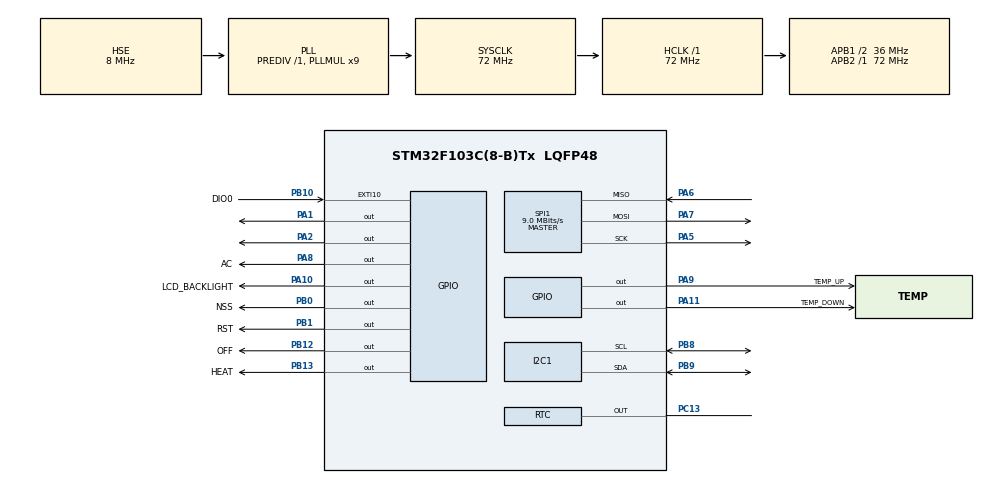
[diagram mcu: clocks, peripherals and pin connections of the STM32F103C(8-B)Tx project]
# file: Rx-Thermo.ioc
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Mcu.Family=STM32F1
Mcu.Name=STM32F103C(8-B)Tx
Mcu.Package=LQFP48
NVIC.EXTI15_10_IRQn=true\:0\:0\:false\:true\:true\:2\:true\:true\:true
NVIC.PriorityGroup=NVIC_PRIORITYGROUP_4
NVIC.RTC_Alarm_IRQn=true\:0\:0\:false\:true\:true\:3\:true\:true\:true
NVIC.SPI1_IRQn=true\:0\:0\:false\:true\:true\:1\:true\:true\:true
PA1.Signal=GPIO_Output
PA10.GPIO_Label=LCD_BACKLIGHT
PA10.PinState=GPIO_PIN_RESET
PA10.Signal=GPIO_Output
PA11.GPIO_Label=TEMP_DOWN
PA11.Signal=GPIO_Output
PA13.Mode=Serial_Wire
PA13.Signal=SYS_JTMS-SWDIO
PA14.Mode=Serial_Wire
PA14.Signal=SYS_JTCK-SWCLK
PA2.Signal=GPIO_Output
PA5.Mode=Full_Duplex_Master
PA5.Signal=SPI1_SCK
PA6.Mode=Full_Duplex_Master
PA6.Signal=SPI1_MISO
PA7.Mode=Full_Duplex_Master
PA7.Signal=SPI1_MOSI
PA8.GPIO_Label=AC
PA8.Signal=GPIO_Output
PA9.GPIO_Label=TEMP_UP
PA9.Signal=GPIO_Output
PB0.GPIO_Label=NSS
PB0.PinState=GPIO_PIN_SET
PB0.Signal=GPIO_Output
PB1.GPIO_Label=RST
PB1.PinState=GPIO_PIN_SET
PB1.Signal=GPIO_Output
PB10.GPIO_Label=DIO0
PB10.GPIO_PuPd=GPIO_PULLDOWN
PB10.Signal=GPXTI10
PB12.GPIO_Label=OFF
PB12.Signal=GPIO_Output
PB13.GPIO_Label=HEAT
PB13.Signal=GPIO_Output
PB8.Mode=I2C
PB8.Signal=I2C1_SCL
PB9.Mode=I2C
PB9.Signal=I2C1_SDA
PC13-TAMPER-RTC.Mode=RTC OUT
PC13-TAMPER-RTC.Signal=RTC_OUT
PD0-OSC_IN.Mode=HSE-External-Oscillator
PD0-OSC_IN.Signal=RCC_OSC_IN
PD1-OSC_OUT.Mode=HSE-External-Oscillator
PD1-OSC_OUT.Signal=RCC_OSC_OUT
ProjectManager.HeapSize=0x200
ProjectManager.StackSize=0x400
ProjectManager.TargetToolchain=STM32CubeIDE
RCC.ADCPresc=RCC_ADCPCLK2_DIV6
RCC.AHBFreq_Value=72000000
RCC.APB1CLKDivider=RCC_HCLK_DIV2
RCC.APB1Freq_Value=36000000
RCC.APB1TimFreq_Value=72000000
RCC.APB2Freq_Value=72000000
RCC.APB2TimFreq_Value=72000000
RCC.HCLKFreq_Value=72000000
RCC.PLLMUL=RCC_PLL_MUL9
RCC.PLLSourceVirtual=RCC_PLLSOURCE_HSE
RCC.PWREXT_OverDrive=PWREXT_OverDrive_DESACTIVATED
RCC.PWR_Regulator_Voltage_Scale=PWR_REGULATOR_VOLTAGE_SCALE3
RCC.RCC_TIM_PRescaler_Selection=RCC_TIMPRES_DESACTIVATED
RCC.SYSCLKFreq_VALUE=72000000
RCC.SYSCLKSource=RCC_SYSCLKSOURCE_PLLCLK
RCC.USBFreq_Value=48000000
RCC.USBPrescaler=RCC_USBCLKSOURCE_PLL_DIV1_5
SPI1.BaudRatePrescaler=SPI_BAUDRATEPRESCALER_8
SPI1.CalculateBaudRate=9.0 MBits/s
SPI1.Direction=SPI_DIRECTION_2LINES
SPI1.Mode=SPI_MODE_MASTER
SPI1.VirtualType=VM_MASTER
VP_RTC_VS_RTC_Activate.Mode=RTC_Enabled
VP_RTC_VS_RTC_Calendar.Mode=RTC_Calendar
board=custom

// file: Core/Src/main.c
/* USER CODE BEGIN Header */
/**
  ******************************************************************************
  * @file           : main.c
  * @brief          : Main program body
  ******************************************************************************
  * @attention
  *
  * Copyright (c) 2025 STMicroelectronics.
  * All rights reserved.
  *
  * This software is licensed under terms that can be found in the LICENSE file
  * in the root directory of this software component.
  * If no LICENSE file comes with this software, it is provided AS-IS.
  *
  ******************************************************************************
  */
/* USER CODE END Header */
#include "main.h"
#include "i2c.h"
#include "rtc.h"
#include "spi.h"
#include "gpio.h"

/* USER CODE BEGIN Includes */
/*--------------------RECEIVER--------------------*/
//#include "usbd_cdc_if.h"
#include <string.h>
#include <stdio.h>
#include <lcd_temp.h>
#include <LiquidCrystal.h>
#include <stm32f1xx.h>
#include <LoRa.h>
#include <temp.h>
#include <commands.h>

/* USER CODE END Includes */

/* USER CODE BEGIN PV */
LoRa myLoRa;
uint16_t LoRa_stat = 0;
uint8_t RxBuffer[16];
volatile uint8_t rx_ready = 0;

TempCtx temp_ctx;
/* Parse alarm, dynamic temp change, LoRa commands */
/* USER CODE END PV */

void SystemClock_Config(void);
static void MX_NVIC_Init(void);

int main(void)
{

  /* MCU Configuration--------------------------------------------------------*/

  /* Reset of all peripherals, Initializes the Flash interface and the Systick. */
  HAL_Init();

  /* Configure the system clock */
  SystemClock_Config();

  /* Initialize all configured peripherals */
  MX_GPIO_Init();
  MX_SPI1_Init();
  MX_I2C1_Init();
  MX_RTC_Init();

  /* Initialize interrupts */
  MX_NVIC_Init();
  /* USER CODE BEGIN 2 */
  myLoRa = newLoRa();
  myLoRa.hSPIx = &hspi1;
  myLoRa.CS_port = GPIOB;
  myLoRa.CS_pin = GPIO_PIN_0;
  myLoRa.reset_port = GPIOB;
  myLoRa.reset_pin = GPIO_PIN_1;
  myLoRa.DIO0_port = GPIOB;
  myLoRa.DIO0_pin = GPIO_PIN_10;

  while (LoRa_init(&myLoRa) != LORA_OK) {
  }
  LoRa_stat = 1;
  LoRa_startReceiving(&myLoRa);

  /* Fresh starting below */
  TempCtx_Init(&temp_ctx);
  LCD_HVACInit(&temp_ctx);

  /* USER CODE END 2 */

  /* Infinite loop */
  /* USER CODE BEGIN WHILE */
  /*--------------------RECEIVER--------------------*/

  while (1)
  {
    /* USER CODE END WHILE */

    /* USER CODE BEGIN 3 */
	  if (rx_ready) {
		  Task_ExecuteCommands();
		  rx_ready = 0;
		  memset(RxBuffer, 0, sizeof(RxBuffer));
	  }
	  if (HAL_GetTick() - temp_ctx.alarm_update >= ALARM_FIRE_INTERVAL) {
		  Task_ExecuteAlarm();
		  temp_ctx.alarm_update = HAL_GetTick();
	  }
	  if (HAL_GetTick() - temp_ctx.temp_update >= TEMP_UPDATE_INTERVAL) {
		  Task_ExecuteTemperatureChange();
		  temp_ctx.temp_update = HAL_GetTick();
	  }
  }
  /* USER CODE END 3 */
}

void Task_ExecuteAlarm(void) {
	EnterStopMode(&temp_ctx);
}

void Task_ExecuteTemperatureChange(void) {
	HVAC_TempChange(&temp_ctx);
}

void Task_ExecuteCommands(void) {
	char command[16];
	if (ValidateCommand(RxBuffer, command))
		Parse_Command(command, &temp_ctx);
}
void SystemClock_Config(void)
{
  RCC_OscInitTypeDef RCC_OscInitStruct = {0};
  RCC_ClkInitTypeDef RCC_ClkInitStruct = {0};
  RCC_PeriphCLKInitTypeDef PeriphClkInit = {0};

  /** Initializes the RCC Oscillators according to the specified parameters
  * in the RCC_OscInitTypeDef structure.
  */
  RCC_OscInitStruct.OscillatorType = RCC_OSCILLATORTYPE_LSI|RCC_OSCILLATORTYPE_HSE;
  RCC_OscInitStruct.HSEState = RCC_HSE_ON;
  RCC_OscInitStruct.HSEPredivValue = RCC_HSE_PREDIV_DIV1;
  RCC_OscInitStruct.HSIState = RCC_HSI_ON;
  RCC_OscInitStruct.LSIState = RCC_LSI_ON;
  RCC_OscInitStruct.PLL.PLLState = RCC_PLL_ON;
  RCC_OscInitStruct.PLL.PLLSource = RCC_PLLSOURCE_HSE;
  RCC_OscInitStruct.PLL.PLLMUL = RCC_PLL_MUL9;
  if (HAL_RCC_OscConfig(&RCC_OscInitStruct) != HAL_OK)
  {
    Error_Handler();
  }

  /** Initializes the CPU, AHB and APB buses clocks
  */
  RCC_ClkInitStruct.ClockType = RCC_CLOCKTYPE_HCLK|RCC_CLOCKTYPE_SYSCLK
                              |RCC_CLOCKTYPE_PCLK1|RCC_CLOCKTYPE_PCLK2;
  RCC_ClkInitStruct.SYSCLKSource = RCC_SYSCLKSOURCE_PLLCLK;
  RCC_ClkInitStruct.AHBCLKDivider = RCC_SYSCLK_DIV1;
  RCC_ClkInitStruct.APB1CLKDivider = RCC_HCLK_DIV2;
  RCC_ClkInitStruct.APB2CLKDivider = RCC_HCLK_DIV1;

  if (HAL_RCC_ClockConfig(&RCC_ClkInitStruct, FLASH_LATENCY_2) != HAL_OK)
  {
    Error_Handler();
  }
  PeriphClkInit.PeriphClockSelection = RCC_PERIPHCLK_RTC;
  PeriphClkInit.RTCClockSelection = RCC_RTCCLKSOURCE_LSI;
  if (HAL_RCCEx_PeriphCLKConfig(&PeriphClkInit) != HAL_OK)
  {
    Error_Handler();
  }
}

/**
  * @brief NVIC Configuration.
  * @retval None
  */
static void MX_NVIC_Init(void)
{
  /* SPI1_IRQn interrupt configuration */
  HAL_NVIC_SetPriority(SPI1_IRQn, 0, 0);
  HAL_NVIC_EnableIRQ(SPI1_IRQn);
  /* EXTI15_10_IRQn interrupt configuration */
  HAL_NVIC_SetPriority(EXTI15_10_IRQn, 0, 0);
  HAL_NVIC_EnableIRQ(EXTI15_10_IRQn);
  /* RTC_Alarm_IRQn interrupt configuration */
  HAL_NVIC_SetPriority(RTC_Alarm_IRQn, 0, 0);
  HAL_NVIC_EnableIRQ(RTC_Alarm_IRQn);
}

/* USER CODE BEGIN 4 */

void HAL_RTC_AlarmAEventCallback(RTC_HandleTypeDef *hrtc) {
	/* Resume clock and tick */
	SystemClock_Config();
	HAL_ResumeTick();
}

void HAL_GPIO_EXTI_Callback(uint16_t GPIO_Pin)
{
	if (GPIO_Pin == DIO0_Pin) {
		LoRa_receive(&myLoRa, RxBuffer, 16);
		rx_ready = 1;
		if (temp_ctx.rtc_alarm_fired) {
			SystemClock_Config();
			HAL_ResumeTick();
			temp_ctx.rtc_alarm_fired = 0;
		}
	}
}

/* USER CODE END 4 */

void Error_Handler(void)
{
  __disable_irq();
  while (1)
  {
  }
}
